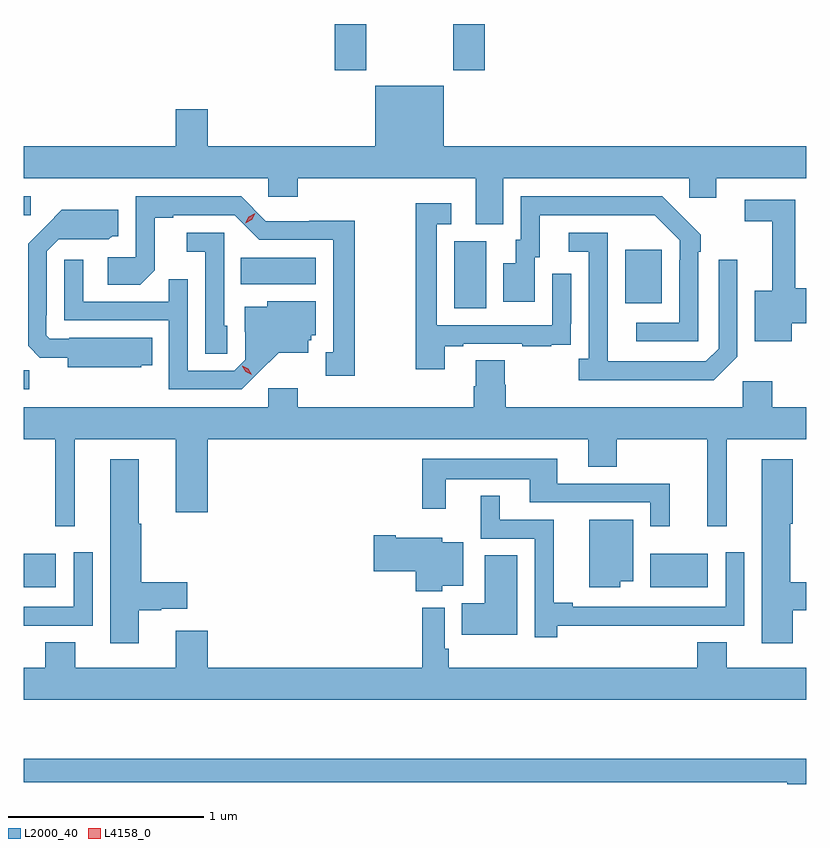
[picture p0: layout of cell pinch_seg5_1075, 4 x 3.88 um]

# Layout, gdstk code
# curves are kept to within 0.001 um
import gdstk
lib = gdstk.Library(unit=1e-6, precision=1e-09)
def R(c, l, rs):  # rectangles x0, y0, x1, y1
    for r in rs: c.add(gdstk.rectangle(r[:2], r[2:], *l))
def P(c, l, *ps):  # polygons
    for p in ps: c.add(gdstk.Polygon(p, *l))
L2000_40 = (2000, 40)
L4158_0 = (4158, 0)

pinch_seg5_1075 = lib.new_cell('pinch_seg5_1075')
R(pinch_seg5_1075, L2000_40, [(799.594,862.664,799.759,862.834), (802.796,862.664,803.089,862.834), (799.594,863.676,799.623,863.771), (801.794,864.088,801.958,864.432), (802.667,864.113,802.855,864.388), (800.704,864.212,801.088,864.346), (799.594,864.564,799.63,864.66), (801.185,865.305,801.345,865.541), (801.79,865.305,801.95,865.541)])
P(pinch_seg5_1075, L2000_40, [(802.045,864.752),(802.995,864.752),(802.995,864.654),(803.134,864.654),(803.134,864.752),(803.594,864.752),(803.594,864.916),(801.742,864.916),(801.742,865.225),(801.392,865.225),(801.392,864.916),(800.536,864.916),(800.536,865.105),(800.372,865.105),(800.372,864.916),(799.594,864.916),(799.594,864.752),(800.844,864.752),(800.844,864.659),(800.996,864.659),(800.996,864.752),(801.905,864.752),(801.905,864.517),(802.045,864.517)],
  [(801.287,864.536),(801.054,864.536),(801.054,864.534),(800.832,864.534),(800.706,864.66),(800.166,864.66),(800.166,864.348),(800.025,864.348),(800.025,864.208),(800.189,864.208),(800.265,864.284),(800.265,864.552),(800.359,864.552),(800.359,864.564),(800.673,864.564),(800.799,864.438),(801.176,864.438),(801.176,863.865),(801.137,863.865),(801.137,863.745),(801.287,863.745)],
  [(803.04,864.377),(803.055,864.377),(803.055,864.465),(802.858,864.66),(802.134,864.66),(802.134,864.438),(802.109,864.438),(802.109,864.319),(802.046,864.319),(802.046,864.123),(802.207,864.123),(802.207,864.348),(802.231,864.348),(802.231,864.564),(802.819,864.564),(802.947,864.435),(802.947,864.335),(802.944,864.335),(802.944,864.015),(802.725,864.015),(802.725,863.919),(803.04,863.919)],
  [(803.518,864.013),(803.594,864.013),(803.594,864.191),(803.537,864.191),(803.537,864.642),(803.28,864.642),(803.28,864.534),(803.42,864.534),(803.42,864.178),(803.33,864.178),(803.33,863.921),(803.518,863.921)],
  [(801.745,863.895),(801.841,863.895),(801.841,863.907),(802.141,863.907),(802.141,863.895),(802.289,863.895),(802.289,863.901),(802.391,863.901),(802.391,864.01),(802.392,864.01),(802.392,864.265),(802.296,864.265),(802.296,864.003),(801.705,864.003),(801.705,864.519),(801.778,864.519),(801.778,864.625),(801.597,864.625),(801.597,863.778),(801.745,863.778)],
  [(800.196,863.798),(800.252,863.798),(800.252,863.938),(799.828,863.938),(799.828,863.934),(799.728,863.934),(799.71,863.952),(799.71,864.052),(799.713,864.052),(799.713,864.381),(799.773,864.441),(800.03,864.44),(800.046,864.456),(800.077,864.456),(800.077,864.592),(799.789,864.592),(799.617,864.418),(799.617,863.896),(799.676,863.837),(799.82,863.837),(799.82,863.786),(800.196,863.786)],
  [(803.241,863.841),(803.241,864.337),(803.145,864.337),(803.145,863.883),(803.079,863.817),(802.579,863.817),(802.578,864.474),(802.38,864.474),(802.38,864.378),(802.482,864.378),(802.482,863.83),(802.431,863.83),(802.431,863.72),(803.12,863.72)],
  [(800.634,864),(800.619,864),(800.619,864.474),(800.427,864.474),(800.427,864.377),(800.523,864.377),(800.523,863.857),(800.634,863.857)],
  [(800.794,863.759),(800.897,863.861),(801.049,863.861),(801.049,863.925),(801.063,863.925),(801.063,863.952),(801.088,863.952),(801.088,864.124),(800.838,864.124),(800.838,864.097),(800.723,864.097),(800.723,863.968),(800.727,863.968),(800.727,863.826),(800.67,863.769),(800.433,863.769),(800.433,864.236),(800.335,864.236),(800.335,864.123),(799.899,864.123),(799.899,864.337),(799.803,864.337),(799.803,864.027),(800.337,864.027),(800.337,863.676),(800.71,863.676)],
  [(799.856,863.42),(800.372,863.42),(800.372,863.046),(800.536,863.046),(800.536,863.42),(802.478,863.42),(802.478,863.278),(802.626,863.278),(802.626,863.42),(803.087,863.42),(803.087,862.974),(803.186,862.974),(803.186,863.42),(803.594,863.42),(803.594,863.584),(803.42,863.584),(803.42,863.716),(803.268,863.716),(803.268,863.584),(802.058,863.584),(802.058,863.697),(802.053,863.697),(802.053,863.822),(801.905,863.822),(801.905,863.69),(801.893,863.69),(801.893,863.584),(800.996,863.584),(800.996,863.68),(800.844,863.68),(800.844,863.584),(799.594,863.584),(799.594,863.42),(799.757,863.42),(799.757,862.974),(799.856,862.974)],
  [(802.895,863.193),(802.321,863.193),(802.321,863.32),(801.63,863.32),(801.63,863.064),(801.751,863.064),(801.751,863.216),(802.181,863.216),(802.181,863.097),(802.797,863.097),(802.797,862.974),(802.895,862.974)],
  [(800.182,862.546),(800.298,862.546),(800.298,862.553),(800.431,862.553),(800.431,862.688),(800.195,862.688),(800.195,862.988),(800.182,862.988),(800.182,863.317),(800.036,863.317),(800.036,862.377),(800.182,862.377)],
  [(803.525,862.546),(803.594,862.546),(803.594,862.688),(803.512,862.688),(803.512,862.988),(803.525,862.988),(803.525,863.317),(803.366,863.317),(803.366,862.377),(803.525,862.377)],
  [(802.322,862.466),(802.952,862.466),(802.952,862.467),(803.277,862.467),(803.277,862.843),(803.181,862.843),(803.181,862.563),(802.399,862.563),(802.399,862.583),(802.304,862.583),(802.304,863.007),(802.027,863.007),(802.027,863.131),(801.929,863.131),(801.929,862.911),(802.206,862.911),(802.206,862.407),(802.322,862.407)],
  [(802.642,862.694),(802.708,862.694),(802.708,863.008),(802.484,863.008),(802.484,862.664),(802.642,862.664)],
  [(801.732,862.67),(801.841,862.67),(801.841,862.894),(801.732,862.894),(801.732,862.915),(801.496,862.915),(801.496,862.928),(801.384,862.928),(801.384,862.745),(801.599,862.745),(801.599,862.643),(801.732,862.643)],
  [(799.622,862.467),(799.947,862.467),(799.947,862.843),(799.851,862.843),(799.851,862.563),(799.594,862.563),(799.594,862.466),(799.622,862.466)],
  [(802.117,862.826),(801.95,862.826),(801.95,862.582),(801.832,862.582),(801.832,862.421),(802.117,862.421)],
  [(803.594,862.252),(803.188,862.252),(803.188,862.382),(803.036,862.382),(803.036,862.252),(801.767,862.252),(801.767,862.348),(801.747,862.348),(801.747,862.558),(801.631,862.558),(801.631,862.252),(800.536,862.252),(800.536,862.441),(800.372,862.441),(800.372,862.252),(799.858,862.252),(799.858,862.382),(799.706,862.382),(799.706,862.252),(799.594,862.252),(799.594,862.088),(803.594,862.088)],
  [(803.594,861.787),(799.594,861.787),(799.594,861.666),(803.496,861.666),(803.496,861.658),(803.594,861.658)])
P(pinch_seg5_1075, L4158_0, [(800.727,864.523),(800.727,864.524),(800.745,864.556),(800.777,864.574),(800.777,864.574),(800.777,864.574),(800.759,864.542),(800.727,864.523)],
  [(800.76,863.749),(800.728,863.764),(800.711,863.793),(800.711,863.794),(800.711,863.794),(800.742,863.779),(800.76,863.749),(800.76,863.749)])

lib.write_gds('pinch_seg5_1075.gds')
